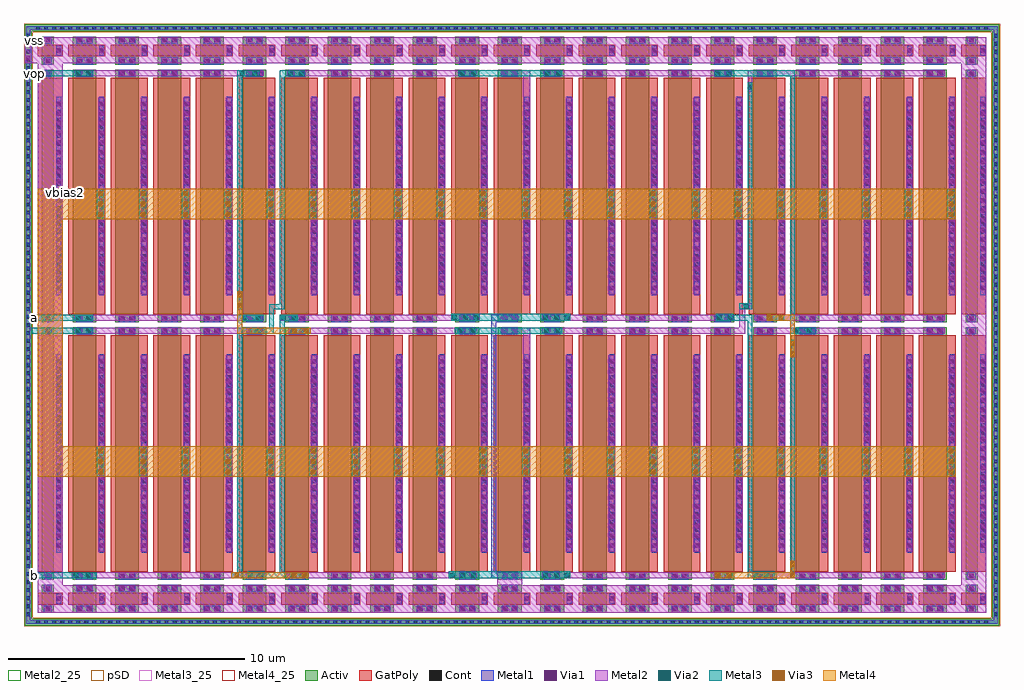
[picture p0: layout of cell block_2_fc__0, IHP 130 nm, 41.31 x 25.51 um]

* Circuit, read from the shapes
.subckt block_2_fc__0 a b vbias2 vom vop vss
XM1 vss vss vss vss sg13_lv_nmos w=0.5u l=0.5u m=4
XM2 vss vss vss vss sg13_lv_nmos w=0.5u l=10u m=4
XM3 vss vss vss vss sg13_lv_nmos w=1u l=0.5u m=42
XM4 vom vbias2 b vss sg13_lv_nmos w=1u l=10u m=20
XM5 vop vbias2 a vss sg13_lv_nmos w=1u l=10u m=20
XM6 vbias2 vbias2 vss vss sg13_lv_nmos w=1u l=10u m=2
.ends

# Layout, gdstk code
from math import pi, radians
import gdstk
lib = gdstk.Library(unit=1e-6, precision=1e-09)
def R(c, l, rs):  # rectangles x0, y0, x1, y1
    for r in rs: c.add(gdstk.rectangle(r[:2], r[2:], *l))
def A(c, l, x, y, w, h, nx, ny, dx, dy):  # array of equal rectangles
    R(c, l, [(x+i*dx, y+j*dy, x+i*dx+w, y+j*dy+h) for i in range(nx) for j in range(ny)])
Activ = (1, 0)
GatPoly = (5, 0)
Cont = (6, 0)
Metal1 = (8, 0)
Metal2 = (10, 0)
Metal2_25 = (10, 25)
pSD = (14, 0)
Via1 = (19, 0)
Via2 = (29, 0)
Metal3 = (30, 0)
Metal3_25 = (30, 25)
Via3 = (49, 0)
Metal4 = (50, 0)
Metal4_25 = (50, 25)

sg13_lv_nmos_ax9sgy__0 = lib.new_cell('sg13_lv_nmos_AX9SGY__0')
R(sg13_lv_nmos_ax9sgy__0, Activ, [(-5.34,-0.595,5.34,0.405)])
R(sg13_lv_nmos_ax9sgy__0, GatPoly, [(-5,-0.775,5,0.775)])
A(sg13_lv_nmos_ax9sgy__0, Cont, -3.99, 0.545, 0.16, 0.16, 24, 1, 0.34, 0)
R(sg13_lv_nmos_ax9sgy__0, Cont, [(-5.27,-0.345,-5.11,-0.185), (5.11,-0.345,5.27,-0.185), (-5.27,-0.005,-5.11,0.155), (5.11,-0.005,5.27,0.155)])
R(sg13_lv_nmos_ax9sgy__0, Metal1, [(-5.34,-0.44,-5.04,0.25), (5.04,-0.44,5.34,0.25), (-4.205,0.52,4.205,0.73)])
R(sg13_lv_nmos_ax9sgy__0, Metal2, [(-5.29,-0.48,-5.09,0.29), (5.09,-0.48,5.29,0.29), (-4.155,0.48,4.155,0.77)])
A(sg13_lv_nmos_ax9sgy__0, Via1, -3.99, 0.53, 0.19, 0.19, 20, 1, 0.41, 0)
R(sg13_lv_nmos_ax9sgy__0, Via1, [(-5.285,-0.395,-5.095,-0.205), (5.095,-0.395,5.285,-0.205), (-5.285,0.015,-5.095,0.205), (5.095,0.015,5.285,0.205)])
sg13_lv_nmos_ax9sgy__0.add(gdstk.Label('D', (-5.19,-0.095), layer=8, texttype=25))
sg13_lv_nmos_ax9sgy__0.add(gdstk.Label('S', (5.19,-0.095), layer=8, texttype=25))
sg13_lv_nmos_ax9sgy__0.add(gdstk.Label('G', (0,0.625), layer=8, texttype=25))

sg13_lv_nmos_g867ww__0 = lib.new_cell('sg13_lv_nmos_G867WW__0')
R(sg13_lv_nmos_g867ww__0, Activ, [(-0.59,-0.595,0.59,0.405)])
R(sg13_lv_nmos_g867ww__0, GatPoly, [(-0.25,-0.775,0.25,0.775)])
R(sg13_lv_nmos_g867ww__0, Cont, [(-0.52,-0.345,-0.36,-0.185), (0.36,-0.345,0.52,-0.185), (-0.52,-0.005,-0.36,0.155), (0.36,-0.005,0.52,0.155), (-0.08,0.545,0.08,0.705)])
R(sg13_lv_nmos_g867ww__0, Metal1, [(-0.59,-0.44,-0.29,0.25), (0.29,-0.44,0.59,0.25), (-0.215,0.52,0.215,0.73)])
R(sg13_lv_nmos_g867ww__0, Metal2, [(-0.54,-0.48,-0.34,0.29), (0.34,-0.48,0.54,0.29), (-0.12,0.48,0.12,0.77)])
R(sg13_lv_nmos_g867ww__0, Via1, [(-0.535,-0.395,-0.345,-0.205), (0.345,-0.395,0.535,-0.205), (-0.535,0.015,-0.345,0.205), (0.345,0.015,0.535,0.205), (-0.095,0.53,0.095,0.72)])
sg13_lv_nmos_g867ww__0.add(gdstk.Label('D', (-0.44,-0.095), layer=8, texttype=25))
sg13_lv_nmos_g867ww__0.add(gdstk.Label('S', (0.44,-0.095), layer=8, texttype=25))
sg13_lv_nmos_g867ww__0.add(gdstk.Label('G', (0,0.625), layer=8, texttype=25))

sg13_lv_nmos_py7sgy__0 = lib.new_cell('sg13_lv_nmos_PY7SGY__0')
R(sg13_lv_nmos_py7sgy__0, Activ, [(-5.34,-0.345,5.34,0.155)])
R(sg13_lv_nmos_py7sgy__0, GatPoly, [(-5,-0.525,5,0.525)])
A(sg13_lv_nmos_py7sgy__0, Cont, -3.99, 0.295, 0.16, 0.16, 24, 1, 0.34, 0)
R(sg13_lv_nmos_py7sgy__0, Cont, [(-5.27,-0.175,-5.11,-0.015), (5.11,-0.175,5.27,-0.015)])
R(sg13_lv_nmos_py7sgy__0, Metal1, [(-5.34,-0.24,-5.04,0.05), (5.04,-0.24,5.34,0.05), (-4.205,0.27,4.205,0.48)])
R(sg13_lv_nmos_py7sgy__0, Metal2, [(-5.29,-0.28,-5.09,0.09), (5.09,-0.28,5.29,0.09), (-4.155,0.23,4.155,0.52)])
A(sg13_lv_nmos_py7sgy__0, Via1, -3.99, 0.28, 0.19, 0.19, 20, 1, 0.41, 0)
R(sg13_lv_nmos_py7sgy__0, Via1, [(-5.285,-0.19,-5.095,0), (5.095,-0.19,5.285,0)])
sg13_lv_nmos_py7sgy__0.add(gdstk.Label('D', (-5.19,-0.095), layer=8, texttype=25))
sg13_lv_nmos_py7sgy__0.add(gdstk.Label('S', (5.19,-0.095), layer=8, texttype=25))
sg13_lv_nmos_py7sgy__0.add(gdstk.Label('G', (0,0.375), layer=8, texttype=25))

sg13_lv_nmos_zrzvta__0 = lib.new_cell('sg13_lv_nmos_ZRZVTA__0')
R(sg13_lv_nmos_zrzvta__0, Activ, [(-0.59,-0.345,0.59,0.155)])
R(sg13_lv_nmos_zrzvta__0, GatPoly, [(-0.25,-0.525,0.25,0.525)])
R(sg13_lv_nmos_zrzvta__0, Cont, [(-0.52,-0.175,-0.36,-0.015), (0.36,-0.175,0.52,-0.015), (-0.08,0.295,0.08,0.455)])
R(sg13_lv_nmos_zrzvta__0, Metal1, [(-0.59,-0.24,-0.29,0.05), (0.29,-0.24,0.59,0.05), (-0.215,0.27,0.215,0.48)])
R(sg13_lv_nmos_zrzvta__0, Metal2, [(-0.54,-0.28,-0.34,0.09), (0.34,-0.28,0.54,0.09), (-0.12,0.23,0.12,0.52)])
R(sg13_lv_nmos_zrzvta__0, Via1, [(-0.535,-0.19,-0.345,0), (0.345,-0.19,0.535,0), (-0.095,0.28,0.095,0.47)])
sg13_lv_nmos_zrzvta__0.add(gdstk.Label('D', (-0.44,-0.095), layer=8, texttype=25))
sg13_lv_nmos_zrzvta__0.add(gdstk.Label('S', (0.44,-0.095), layer=8, texttype=25))
sg13_lv_nmos_zrzvta__0.add(gdstk.Label('G', (0,0.375), layer=8, texttype=25))

block_2_fc__0 = lib.new_cell('block_2_fc__0')
R(block_2_fc__0, Activ, [(-0.3,-11.4,40.95,-11.1), (-0.3,-11.1,0,13.75), (40.65,-11.1,40.95,13.75), (-0.3,13.75,40.95,14.05)])
A(block_2_fc__0, Cont, 0.185, -11.33, 0.16, 0.16, 119, 2, 0.34, 25.15)
A(block_2_fc__0, Cont, -0.23, -10.995, 0.16, 0.16, 1, 73, 0, 0.34)
A(block_2_fc__0, Cont, 40.72, -10.995, 0.16, 0.16, 1, 73, 0, 0.34)
R(block_2_fc__0, Metal1, [(-0.23,-11.33,40.88,-11.17), (-0.23,-11.17,-0.07,12.4), (40.72,-11.17,40.88,13.82), (0.5,-10.85,0.85,-10.55), (39.6,-10.85,39.95,-10.55), (0.5,-9.95,0.85,-9.7), (39.6,-9.95,39.95,-9.7), (0.5,-9.4,0.85,-9.15), (19.45,-9.4,20.6,-9.15), (39.6,-9.4,39.95,-9.15), (19.45,-9.15,19.65,1.45), (0.5,0.95,0.85,1.2), (10.9,0.95,11,1.2), (39.6,0.95,39.95,1.2), (19.45,1.45,20.55,1.75), (0.5,1.5,0.9,1.75), (39.6,1.5,39.95,1.75), (0.5,11.85,0.85,12.1), (39.6,11.85,39.95,12.1), (0.5,12.35,0.85,12.65), (39.6,12.35,39.95,12.65), (-0.3,12.4,0,13.5), (0.5,13.25,0.85,13.5), (39.6,13.25,39.95,13.5), (-0.23,13.5,-0.07,13.82), (-0.23,13.82,40.88,13.98)])
A(block_2_fc__0, Metal2, 2.75, -5.1, 0.3, 1.3, 21, 1, 1.8, 0)
A(block_2_fc__0, Metal2, 4.55, 5.8, 0.3, 1.3, 20, 1, 1.8, 0)
R(block_2_fc__0, Metal2, [(0.25,-10.85,40.4,-9.7), (0.25,-9.7,1.3,12.4), (19.7,-9.7,20.75,-9.1), (39.35,-9.7,40.4,12.4), (1.7,-9.4,9.85,-9.15), (10.8,-9.4,18.85,-9.15), (21.6,-9.4,29.65,-9.15), (30.5,-9.4,38.65,-9.15), (9.15,-9.15,9.85,-9.1), (17.65,-9.15,18.85,-9.1), (21.6,-9.15,22.8,-9.1), (30.5,-9.15,31.45,-9.1), (20.8,0,21.1,0.95), (1.8,0.95,9.75,1.2), (10.9,0.95,18.85,1.2), (19.85,0.95,21.1,1.2), (21.6,0.95,30.2,1.2), (30.6,0.95,38.65,1.2), (29.95,1.2,30.2,2), (1.8,1.5,9.75,1.7), (10.5,1.5,18.95,1.75), (21.6,1.5,29.7,1.75), (30.6,1.5,38.65,1.75), (1.8,1.7,9.8,1.75), (17.75,1.75,18.95,1.8), (21.6,1.75,22.8,1.8), (28.95,1.75,29.7,1.8), (29.95,2,30.5,2.25), (2.75,5.85,3.05,7.1), (20.8,10.9,21.1,11.85), (30.3,11.2,30.5,11.85), (1.8,11.85,9.65,12.1), (10.8,11.85,18.85,12.1), (19.9,11.85,21.1,12.1), (21.65,11.85,29.65,12.1), (30.3,11.85,38.65,12.1), (-0.3,12.4,40.4,13.5)])
R(block_2_fc__0, Metal2_25, [(0,13.25,0.25,13.5)])
R(block_2_fc__0, pSD, [(-0.33,-11.43,40.98,-11.07), (-0.33,-11.07,0.03,13.72), (40.62,-11.07,40.98,13.72), (-0.33,13.72,40.98,14.08)])
R(block_2_fc__0, Via1, [(-0.245,12.53,-0.055,12.72), (-0.245,13.18,-0.055,13.37)])
A(block_2_fc__0, Via2, 17.705, -9.345, 0.19, 0.19, 3, 1, 0.45, 0)
A(block_2_fc__0, Via2, 21.655, -9.345, 0.19, 0.19, 3, 2, 0.45, 10.9)
A(block_2_fc__0, Via2, 2.805, -4.995, 0.19, 0.19, 21, 3, 1.8, 0.45)
A(block_2_fc__0, Via2, 17.805, 1.555, 0.19, 0.19, 3, 1, 0.45, 0)
A(block_2_fc__0, Via2, 2.805, 5.905, 0.19, 0.19, 21, 3, 1.8, 0.45)
R(block_2_fc__0, Via2, [(1.78,-9.37,1.97,-9.18), (2.28,-9.37,2.47,-9.18), (11.005,-9.37,11.195,-9.18), (11.455,-9.37,11.645,-9.18), (28.955,-9.37,29.145,-9.18), (29.405,-9.37,29.595,-9.18), (9.155,-9.345,9.345,-9.155), (9.605,-9.345,9.795,-9.155), (30.555,-9.345,30.745,-9.155), (31.005,-9.345,31.195,-9.155), (9.43,0.955,9.62,1.145), (1.855,0.98,2.045,1.17), (2.305,0.98,2.495,1.17), (11.03,0.98,11.22,1.17), (11.53,0.98,11.72,1.17), (18.03,0.98,18.22,1.17), (18.58,0.98,18.77,1.17), (21.68,0.98,21.87,1.17), (22.18,0.98,22.37,1.17), (32.255,0.98,32.445,1.17), (32.805,0.98,32.995,1.17), (1.855,1.53,2.045,1.72), (2.305,1.53,2.495,1.72), (31.155,1.53,31.345,1.72), (31.605,1.53,31.795,1.72), (8.88,1.555,9.07,1.745), (9.48,1.555,9.67,1.745), (10.555,1.555,10.745,1.745), (11.005,1.555,11.195,1.745), (29.005,1.555,29.195,1.745), (29.455,1.555,29.645,1.745), (30.13,2.03,30.32,2.22), (30.305,11.305,30.495,11.495), (10.855,11.855,11.045,12.045), (11.305,11.855,11.495,12.045), (18.105,11.855,18.295,12.045), (18.605,11.855,18.795,12.045), (21.705,11.855,21.895,12.045), (22.205,11.855,22.395,12.045), (28.955,11.855,29.145,12.045), (29.405,11.855,29.595,12.045), (1.855,11.88,2.045,12.07), (2.305,11.88,2.495,12.07), (8.805,11.88,8.995,12.07), (9.355,11.88,9.545,12.07)])
A(block_2_fc__0, Metal3, 2.75, -5.1, 0.3, 1.3, 21, 1, 1.8, 0)
A(block_2_fc__0, Metal3, 4.55, 5.8, 0.3, 1.3, 20, 1, 1.8, 0)
R(block_2_fc__0, Metal3, [(0,-9.4,2.75,-9.15), (8.45,-9.4,8.9,-9.15), (9.15,-9.4,10.7,-9.15), (10.95,-9.4,11.7,-9.15), (17.65,-9.4,22.8,-9.1), (28.9,-9.4,29.65,-9.15), (30.3,-9.4,31.45,-9.1), (32.1,-9.4,32.3,0.7), (8.7,-9.15,8.9,1.5), (9.15,-9.15,9.85,-9.1), (10.5,-9.15,10.7,1.5), (30.3,-9.1,30.5,1.5), (0,0.95,2.6,1.2), (9.25,0.95,10.25,1.2), (10.95,0.95,11.8,1.2), (17.9,0.95,22.45,1.2), (32.1,0.95,33.2,1.2), (10.05,1.2,10.25,2), (32.1,1.2,32.3,11.85), (0,1.5,2.6,1.75), (8.7,1.5,9.8,1.75), (10.5,1.5,11.25,1.75), (17.75,1.5,22.8,1.8), (28.95,1.5,30.5,1.75), (31.1,1.5,31.85,1.75), (28.95,1.75,29.7,1.8), (8.7,2,8.9,11.85), (10.05,2,10.7,2.2), (29.95,2,30.5,2.25), (10.5,2.2,10.7,11.85), (30.3,2.25,30.5,11.6), (2.75,5.85,3.05,7.1), (0,11.85,2.6,12.1), (8.7,11.85,9.65,12.1), (10.5,11.85,11.55,12.1), (18.05,11.85,22.45,12.1), (28.9,11.85,32.3,12.1)])
R(block_2_fc__0, Metal3_25, [(0,-9.4,0.25,-9.15), (0,0.95,0.25,1.2), (0,1.5,0.25,1.75), (0,11.85,0.25,12.1)])
A(block_2_fc__0, Via3, 2.805, -4.995, 0.19, 0.19, 21, 3, 1.8, 0.45)
A(block_2_fc__0, Via3, 2.805, 5.905, 0.19, 0.19, 21, 3, 1.8, 0.45)
R(block_2_fc__0, Via3, [(8.58,-9.37,8.77,-9.18), (11.005,-9.37,11.195,-9.18), (11.455,-9.37,11.645,-9.18), (28.955,-9.37,29.145,-9.18), (29.405,-9.37,29.595,-9.18), (32.105,-9.345,32.295,-9.155), (32.105,-8.895,32.295,-8.705), (32.105,0.005,32.295,0.195), (32.105,0.455,32.295,0.645), (11.03,0.98,11.22,1.17), (11.53,0.98,11.72,1.17), (31.155,1.53,31.345,1.72), (31.605,1.53,31.795,1.72), (8.705,2.055,8.895,2.245), (8.705,2.505,8.895,2.695)])
R(block_2_fc__0, Metal4, [(8.45,-9.4,11.7,-9.15), (28.9,-9.4,32.3,-9.15), (32.1,-9.15,32.3,-8.65), (0.25,-5.1,39.1,-3.8), (0.25,-3.8,1.3,5.8), (32.1,-0.05,32.3,1.5), (8.7,0.95,11.8,1.2), (8.7,1.2,8.9,2.75), (31.1,1.5,32.3,1.75), (0.25,5.8,39.1,7.1)])
R(block_2_fc__0, Metal4_25, [(1.3,6.8,1.55,7.1)])
block_2_fc__0.add(gdstk.Reference(sg13_lv_nmos_ax9sgy__0, (2.325,-4.11), rotation=3*pi/2))
block_2_fc__0.add(gdstk.Reference(sg13_lv_nmos_g867ww__0, (2.325,-10.26), rotation=3*pi/2))
block_2_fc__0.add(gdstk.Reference(sg13_lv_nmos_py7sgy__0, (0.775,-4.11), rotation=3*pi/2))
block_2_fc__0.add(gdstk.Reference(sg13_lv_nmos_zrzvta__0, (0.775,-10.26), rotation=3*pi/2))
block_2_fc__0.add(gdstk.Reference(sg13_lv_nmos_ax9sgy__0, (4.125,-4.11), rotation=3*pi/2))
block_2_fc__0.add(gdstk.Reference(sg13_lv_nmos_g867ww__0, (4.125,-10.26), rotation=3*pi/2))
block_2_fc__0.add(gdstk.Reference(sg13_lv_nmos_ax9sgy__0, (5.925,-4.11), rotation=3*pi/2))
block_2_fc__0.add(gdstk.Reference(sg13_lv_nmos_g867ww__0, (5.925,-10.26), rotation=3*pi/2))
block_2_fc__0.add(gdstk.Reference(sg13_lv_nmos_ax9sgy__0, (7.725,-4.11), rotation=3*pi/2))
block_2_fc__0.add(gdstk.Reference(sg13_lv_nmos_g867ww__0, (7.725,-10.26), rotation=3*pi/2))
block_2_fc__0.add(gdstk.Reference(sg13_lv_nmos_ax9sgy__0, (9.525,-4.11), rotation=3*pi/2))
block_2_fc__0.add(gdstk.Reference(sg13_lv_nmos_g867ww__0, (9.525,-10.26), rotation=3*pi/2))
block_2_fc__0.add(gdstk.Reference(sg13_lv_nmos_ax9sgy__0, (11.325,-4.11), rotation=3*pi/2))
block_2_fc__0.add(gdstk.Reference(sg13_lv_nmos_g867ww__0, (11.325,-10.26), rotation=3*pi/2))
block_2_fc__0.add(gdstk.Reference(sg13_lv_nmos_ax9sgy__0, (13.125,-4.11), rotation=3*pi/2))
block_2_fc__0.add(gdstk.Reference(sg13_lv_nmos_g867ww__0, (13.125,-10.26), rotation=3*pi/2))
block_2_fc__0.add(gdstk.Reference(sg13_lv_nmos_ax9sgy__0, (14.925,-4.11), rotation=3*pi/2))
block_2_fc__0.add(gdstk.Reference(sg13_lv_nmos_g867ww__0, (14.925,-10.26), rotation=3*pi/2))
block_2_fc__0.add(gdstk.Reference(sg13_lv_nmos_ax9sgy__0, (16.725,-4.11), rotation=3*pi/2))
block_2_fc__0.add(gdstk.Reference(sg13_lv_nmos_g867ww__0, (16.725,-10.26), rotation=3*pi/2))
block_2_fc__0.add(gdstk.Reference(sg13_lv_nmos_ax9sgy__0, (18.525,-4.11), rotation=3*pi/2))
block_2_fc__0.add(gdstk.Reference(sg13_lv_nmos_g867ww__0, (18.525,-10.26), rotation=3*pi/2))
block_2_fc__0.add(gdstk.Reference(sg13_lv_nmos_ax9sgy__0, (20.325,-4.11), rotation=3*pi/2))
block_2_fc__0.add(gdstk.Reference(sg13_lv_nmos_g867ww__0, (20.325,-10.26), rotation=3*pi/2))
block_2_fc__0.add(gdstk.Reference(sg13_lv_nmos_ax9sgy__0, (22.125,-4.11), rotation=3*pi/2))
block_2_fc__0.add(gdstk.Reference(sg13_lv_nmos_g867ww__0, (22.125,-10.26), rotation=3*pi/2))
block_2_fc__0.add(gdstk.Reference(sg13_lv_nmos_ax9sgy__0, (23.925,-4.11), rotation=3*pi/2))
block_2_fc__0.add(gdstk.Reference(sg13_lv_nmos_g867ww__0, (23.925,-10.26), rotation=3*pi/2))
block_2_fc__0.add(gdstk.Reference(sg13_lv_nmos_ax9sgy__0, (25.725,-4.11), rotation=3*pi/2))
block_2_fc__0.add(gdstk.Reference(sg13_lv_nmos_g867ww__0, (25.725,-10.26), rotation=3*pi/2))
block_2_fc__0.add(gdstk.Reference(sg13_lv_nmos_ax9sgy__0, (27.525,-4.11), rotation=3*pi/2))
block_2_fc__0.add(gdstk.Reference(sg13_lv_nmos_g867ww__0, (27.525,-10.26), rotation=3*pi/2))
block_2_fc__0.add(gdstk.Reference(sg13_lv_nmos_ax9sgy__0, (29.325,-4.11), rotation=3*pi/2))
block_2_fc__0.add(gdstk.Reference(sg13_lv_nmos_g867ww__0, (29.325,-10.26), rotation=3*pi/2))
block_2_fc__0.add(gdstk.Reference(sg13_lv_nmos_ax9sgy__0, (31.125,-4.11), rotation=3*pi/2))
block_2_fc__0.add(gdstk.Reference(sg13_lv_nmos_g867ww__0, (31.125,-10.26), rotation=3*pi/2))
block_2_fc__0.add(gdstk.Reference(sg13_lv_nmos_ax9sgy__0, (32.925,-4.11), rotation=3*pi/2))
block_2_fc__0.add(gdstk.Reference(sg13_lv_nmos_g867ww__0, (32.925,-10.26), rotation=3*pi/2))
block_2_fc__0.add(gdstk.Reference(sg13_lv_nmos_ax9sgy__0, (34.725,-4.11), rotation=3*pi/2))
block_2_fc__0.add(gdstk.Reference(sg13_lv_nmos_g867ww__0, (34.725,-10.26), rotation=3*pi/2))
block_2_fc__0.add(gdstk.Reference(sg13_lv_nmos_ax9sgy__0, (36.525,-4.11), rotation=3*pi/2))
block_2_fc__0.add(gdstk.Reference(sg13_lv_nmos_g867ww__0, (36.525,-10.26), rotation=3*pi/2))
block_2_fc__0.add(gdstk.Reference(sg13_lv_nmos_ax9sgy__0, (38.325,-4.11), rotation=3*pi/2))
block_2_fc__0.add(gdstk.Reference(sg13_lv_nmos_g867ww__0, (38.325,-10.26), rotation=3*pi/2))
block_2_fc__0.add(gdstk.Reference(sg13_lv_nmos_py7sgy__0, (39.875,-4.11), rotation=3*pi/2))
block_2_fc__0.add(gdstk.Reference(sg13_lv_nmos_zrzvta__0, (39.875,-10.26), rotation=3*pi/2))
block_2_fc__0.add(gdstk.Reference(sg13_lv_nmos_ax9sgy__0, (2.325,6.79), rotation=3*pi/2))
block_2_fc__0.add(gdstk.Reference(sg13_lv_nmos_py7sgy__0, (0.775,6.79), rotation=3*pi/2))
block_2_fc__0.add(gdstk.Reference(sg13_lv_nmos_ax9sgy__0, (4.125,6.79), rotation=3*pi/2))
block_2_fc__0.add(gdstk.Reference(sg13_lv_nmos_ax9sgy__0, (5.925,6.79), rotation=3*pi/2))
block_2_fc__0.add(gdstk.Reference(sg13_lv_nmos_ax9sgy__0, (7.725,6.79), rotation=3*pi/2))
block_2_fc__0.add(gdstk.Reference(sg13_lv_nmos_ax9sgy__0, (9.525,6.79), rotation=3*pi/2))
block_2_fc__0.add(gdstk.Reference(sg13_lv_nmos_ax9sgy__0, (11.325,6.79), rotation=3*pi/2))
block_2_fc__0.add(gdstk.Reference(sg13_lv_nmos_ax9sgy__0, (13.125,6.79), rotation=3*pi/2))
block_2_fc__0.add(gdstk.Reference(sg13_lv_nmos_ax9sgy__0, (14.925,6.79), rotation=3*pi/2))
block_2_fc__0.add(gdstk.Reference(sg13_lv_nmos_ax9sgy__0, (16.725,6.79), rotation=3*pi/2))
block_2_fc__0.add(gdstk.Reference(sg13_lv_nmos_ax9sgy__0, (18.525,6.79), rotation=3*pi/2))
block_2_fc__0.add(gdstk.Reference(sg13_lv_nmos_ax9sgy__0, (20.325,6.79), rotation=3*pi/2))
block_2_fc__0.add(gdstk.Reference(sg13_lv_nmos_ax9sgy__0, (22.125,6.79), rotation=3*pi/2))
block_2_fc__0.add(gdstk.Reference(sg13_lv_nmos_ax9sgy__0, (23.925,6.79), rotation=3*pi/2))
block_2_fc__0.add(gdstk.Reference(sg13_lv_nmos_ax9sgy__0, (25.725,6.79), rotation=3*pi/2))
block_2_fc__0.add(gdstk.Reference(sg13_lv_nmos_ax9sgy__0, (27.525,6.79), rotation=3*pi/2))
block_2_fc__0.add(gdstk.Reference(sg13_lv_nmos_ax9sgy__0, (29.325,6.79), rotation=3*pi/2))
block_2_fc__0.add(gdstk.Reference(sg13_lv_nmos_ax9sgy__0, (31.125,6.79), rotation=3*pi/2))
block_2_fc__0.add(gdstk.Reference(sg13_lv_nmos_ax9sgy__0, (32.925,6.79), rotation=3*pi/2))
block_2_fc__0.add(gdstk.Reference(sg13_lv_nmos_ax9sgy__0, (34.725,6.79), rotation=3*pi/2))
block_2_fc__0.add(gdstk.Reference(sg13_lv_nmos_ax9sgy__0, (36.525,6.79), rotation=3*pi/2))
block_2_fc__0.add(gdstk.Reference(sg13_lv_nmos_ax9sgy__0, (38.325,6.79), rotation=3*pi/2))
block_2_fc__0.add(gdstk.Reference(sg13_lv_nmos_py7sgy__0, (39.875,6.79), rotation=3*pi/2))
block_2_fc__0.add(gdstk.Reference(sg13_lv_nmos_g867ww__0, (2.325,12.94), rotation=3*pi/2))
block_2_fc__0.add(gdstk.Reference(sg13_lv_nmos_zrzvta__0, (0.775,12.94), rotation=3*pi/2))
block_2_fc__0.add(gdstk.Reference(sg13_lv_nmos_g867ww__0, (4.125,12.94), rotation=3*pi/2))
block_2_fc__0.add(gdstk.Reference(sg13_lv_nmos_g867ww__0, (5.925,12.94), rotation=3*pi/2))
block_2_fc__0.add(gdstk.Reference(sg13_lv_nmos_g867ww__0, (7.725,12.94), rotation=3*pi/2))
block_2_fc__0.add(gdstk.Reference(sg13_lv_nmos_g867ww__0, (9.525,12.94), rotation=3*pi/2))
block_2_fc__0.add(gdstk.Reference(sg13_lv_nmos_g867ww__0, (11.325,12.94), rotation=3*pi/2))
block_2_fc__0.add(gdstk.Reference(sg13_lv_nmos_g867ww__0, (13.125,12.94), rotation=3*pi/2))
block_2_fc__0.add(gdstk.Reference(sg13_lv_nmos_g867ww__0, (14.925,12.94), rotation=3*pi/2))
block_2_fc__0.add(gdstk.Reference(sg13_lv_nmos_g867ww__0, (16.725,12.94), rotation=3*pi/2))
block_2_fc__0.add(gdstk.Reference(sg13_lv_nmos_g867ww__0, (18.525,12.94), rotation=3*pi/2))
block_2_fc__0.add(gdstk.Reference(sg13_lv_nmos_g867ww__0, (20.325,12.94), rotation=3*pi/2))
block_2_fc__0.add(gdstk.Reference(sg13_lv_nmos_g867ww__0, (22.125,12.94), rotation=3*pi/2))
block_2_fc__0.add(gdstk.Reference(sg13_lv_nmos_g867ww__0, (23.925,12.94), rotation=3*pi/2))
block_2_fc__0.add(gdstk.Reference(sg13_lv_nmos_g867ww__0, (25.725,12.94), rotation=3*pi/2))
block_2_fc__0.add(gdstk.Reference(sg13_lv_nmos_g867ww__0, (27.525,12.94), rotation=3*pi/2))
block_2_fc__0.add(gdstk.Reference(sg13_lv_nmos_g867ww__0, (29.325,12.94), rotation=3*pi/2))
block_2_fc__0.add(gdstk.Reference(sg13_lv_nmos_g867ww__0, (31.125,12.94), rotation=3*pi/2))
block_2_fc__0.add(gdstk.Reference(sg13_lv_nmos_g867ww__0, (32.925,12.94), rotation=3*pi/2))
block_2_fc__0.add(gdstk.Reference(sg13_lv_nmos_g867ww__0, (34.725,12.94), rotation=3*pi/2))
block_2_fc__0.add(gdstk.Reference(sg13_lv_nmos_g867ww__0, (36.525,12.94), rotation=3*pi/2))
block_2_fc__0.add(gdstk.Reference(sg13_lv_nmos_g867ww__0, (38.325,12.94), rotation=3*pi/2))
block_2_fc__0.add(gdstk.Reference(sg13_lv_nmos_zrzvta__0, (39.875,12.94), rotation=3*pi/2))
block_2_fc__0.add(gdstk.Label('vss', (0.125,13.375), layer=10, texttype=25))
block_2_fc__0.add(gdstk.Label('vop', (0.125,11.975), layer=30, texttype=25))
block_2_fc__0.add(gdstk.Label('a', (0.125,1.625), layer=30, texttype=25))
block_2_fc__0.add(gdstk.Label('vom', (0.125,1.075), layer=30, texttype=25))
block_2_fc__0.add(gdstk.Label('b', (0.125,-9.275), layer=30, texttype=25))
block_2_fc__0.add(gdstk.Label('vbias2', (1.425,6.95), layer=50, texttype=25))

lib.write_gds('block_2_fc__0.gds')
